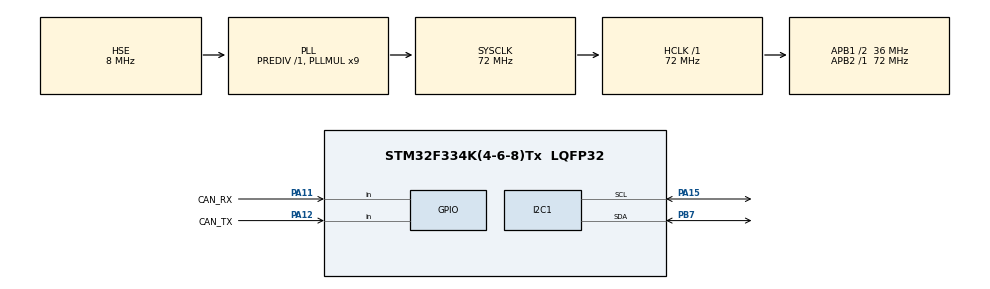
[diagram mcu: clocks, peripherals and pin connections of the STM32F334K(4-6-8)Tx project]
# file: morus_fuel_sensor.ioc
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I2C1.Timing=0x10808DD3
Mcu.Family=STM32F3
Mcu.Name=STM32F334K(4-6-8)Tx
Mcu.Package=LQFP32
NVIC.PriorityGroup=NVIC_PRIORITYGROUP_4
PA11.GPIO_Label=CAN_RX
PA11.Signal=GPIO_Input
PA12.GPIO_Label=CAN_TX
PA12.Signal=GPIO_Input
PA13.Mode=Trace_Asynchronous_SW
PA13.Signal=SYS_JTMS-SWDIO
PA14.Mode=Trace_Asynchronous_SW
PA14.Signal=SYS_JTCK-SWCLK
PA15.Mode=I2C
PA15.Signal=I2C1_SCL
PB3.Mode=Trace_Asynchronous_SW
PB3.Signal=SYS_JTDO-TRACESWO
PB7.Mode=I2C
PB7.Signal=I2C1_SDA
PF0\ /\ OSC_IN.Mode=HSE-External-Oscillator
PF0\ /\ OSC_IN.Signal=RCC_OSC_IN
PF1\ /\ OSC_OUT.Mode=HSE-External-Oscillator
PF1\ /\ OSC_OUT.Signal=RCC_OSC_OUT
ProjectManager.HeapSize=0x200
ProjectManager.StackSize=0x400
ProjectManager.TargetToolchain=MDK-ARM V5
RCC.AHBFreq_Value=72000000
RCC.APB1CLKDivider=RCC_HCLK_DIV2
RCC.APB1Freq_Value=36000000
RCC.APB1TimFreq_Value=72000000
RCC.APB2Freq_Value=72000000
RCC.APB2TimFreq_Value=72000000
RCC.CortexFreq_Value=72000000
RCC.HCLKFreq_Value=72000000
RCC.HSE_VALUE=8000000
RCC.HSI_VALUE=8000000
RCC.I2c1ClockSelection=RCC_I2C1CLKSOURCE_SYSCLK
RCC.PLLMUL=RCC_PLL_MUL9
RCC.PLLSourceVirtual=RCC_PLLSOURCE_HSE
RCC.SYSCLKFreq_VALUE=72000000
RCC.SYSCLKSourceVirtual=RCC_SYSCLKSOURCE_PLLCLK
board=morus_fuel_sensor

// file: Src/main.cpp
/**
  ******************************************************************************
  * File Name          : main.c
  * Description        : Main program body
  ******************************************************************************
  *
  * Copyright (c) 2017 STMicroelectronics International N.V.
  * All rights reserved.
  *
  * Redistribution and use in source and binary forms, with or without
  * modification, are permitted, provided that the following conditions are met:
  *
  * 1. Redistribution of source code must retain the above copyright notice,
  *    this list of conditions and the following disclaimer.
  * 2. Redistributions in binary form must reproduce the above copyright notice,
  *    this list of conditions and the following disclaimer in the documentation
  *    and/or other materials provided with the distribution.
  * 3. Neither the name of STMicroelectronics nor the names of other
  *    contributors to this software may be used to endorse or promote products
  *    derived from this software without specific written permission.
  * 4. This software, including modifications and/or derivative works of this
  *    software, must execute solely and exclusively on microcontroller or
  *    microprocessor devices manufactured by or for STMicroelectronics.
  * 5. Redistribution and use of this software other than as permitted under
  *    this license is void and will automatically terminate your rights under
  *    this license.
  *
  * THIS SOFTWARE IS PROVIDED BY STMICROELECTRONICS AND CONTRIBUTORS "AS IS"
  * AND ANY EXPRESS, IMPLIED OR STATUTORY WARRANTIES, INCLUDING, BUT NOT
  * LIMITED TO, THE IMPLIED WARRANTIES OF MERCHANTABILITY, FITNESS FOR A
  * PARTICULAR PURPOSE AND NON-INFRINGEMENT OF THIRD PARTY INTELLECTUAL PROPERTY
  * RIGHTS ARE DISCLAIMED TO THE FULLEST EXTENT PERMITTED BY LAW. IN NO EVENT
  * SHALL STMICROELECTRONICS OR CONTRIBUTORS BE LIABLE FOR ANY DIRECT, INDIRECT,
  * INCIDENTAL, SPECIAL, EXEMPLARY, OR CONSEQUENTIAL DAMAGES (INCLUDING, BUT NOT
  * LIMITED TO, PROCUREMENT OF SUBSTITUTE GOODS OR SERVICES; LOSS OF USE, DATA,
  * OR PROFITS; OR BUSINESS INTERRUPTION) HOWEVER CAUSED AND ON ANY THEORY OF
  * LIABILITY, WHETHER IN CONTRACT, STRICT LIABILITY, OR TORT (INCLUDING
  * NEGLIGENCE OR OTHERWISE) ARISING IN ANY WAY OUT OF THE USE OF THIS SOFTWARE,
  * EVEN IF ADVISED OF THE POSSIBILITY OF SUCH DAMAGE.
  *
  ******************************************************************************
  */
#include "main.h"
#include "stm32f3xx_hal.h"
#include "i2c.h"
#include "gpio.h"

/* USER CODE BEGIN Includes */
#include <fuel_sensor.h>
#include <fsu_libuavcan.h>
#include <flash.h>
/* USER CODE END Includes */

/* USER CODE BEGIN PV */
/* Private variables ---------------------------------------------------------*/
fsu_libuavcan fsu_can1;
float level;
int fuel_level;
float MEAS1_EMPTY, MEAS2_EMPTY, MEAS3_EMPTY;
float MEAS1, MEAS2, MEAS3;
/* USER CODE END PV */

void SystemClock_Config(void);
void Error_Handler(void);

/* USER CODE BEGIN PFP */
/* Private function prototypes -----------------------------------------------*/

/* USER CODE END PFP */

int main(void)
{

  /* MCU Configuration----------------------------------------------------------*/

  /* Reset of all peripherals, Initializes the Flash interface and the Systick. */
  HAL_Init();

  /* Configure the system clock */
  SystemClock_Config();

  /* Initialize all configured peripherals */
  MX_GPIO_Init();
	MX_I2C1_Init();

  /* USER CODE BEGIN 2 */
	if (readParametersFromFlash(&fsu_parameters) == HAL_ERROR)
		readDefaultParameters(&fsu_parameters);

	fsu_can1.can_init();
	fsu_can1.fsu_libuavcan_Init(fsu_parameters.fsu_id);
	fsu_can1.set_fuel_sensorID(fsu_parameters.fsu_id);
	fsu_can1.start();

	register_init();

  /* USER CODE END 2 */

  while (1)
  {
  /* USER CODE BEGIN 3 */
		liquid_level(&MEAS1_EMPTY, &MEAS2_EMPTY, &MEAS3_EMPTY, &MEAS1, &MEAS2, &MEAS3, &fuel_level, &level);

		fsu_can1.set_fuel_level(fuel_level);//fuel_level (int, 5% units) or level (float)
		fsu_can1.fuel_sensor_status_publish();
		fsu_can1.spin(1000);
  }
  /* USER CODE END 3 */

}

/** System Clock Configuration
*/
void SystemClock_Config(void)
{

  RCC_OscInitTypeDef RCC_OscInitStruct;
  RCC_ClkInitTypeDef RCC_ClkInitStruct;
  RCC_PeriphCLKInitTypeDef PeriphClkInit;

    /**Initializes the CPU, AHB and APB busses clocks
    */
  RCC_OscInitStruct.OscillatorType = RCC_OSCILLATORTYPE_HSE;
  RCC_OscInitStruct.HSEState = RCC_HSE_ON;
  RCC_OscInitStruct.HSEPredivValue = RCC_HSE_PREDIV_DIV1;
  RCC_OscInitStruct.HSIState = RCC_HSI_ON;
  RCC_OscInitStruct.PLL.PLLState = RCC_PLL_ON;
  RCC_OscInitStruct.PLL.PLLSource = RCC_PLLSOURCE_HSE;
  RCC_OscInitStruct.PLL.PLLMUL = RCC_PLL_MUL9;
  if (HAL_RCC_OscConfig(&RCC_OscInitStruct) != HAL_OK)
  {
    Error_Handler();
  }

    /**Initializes the CPU, AHB and APB busses clocks
    */
  RCC_ClkInitStruct.ClockType = RCC_CLOCKTYPE_HCLK|RCC_CLOCKTYPE_SYSCLK
                              |RCC_CLOCKTYPE_PCLK1|RCC_CLOCKTYPE_PCLK2;
  RCC_ClkInitStruct.SYSCLKSource = RCC_SYSCLKSOURCE_PLLCLK;
  RCC_ClkInitStruct.AHBCLKDivider = RCC_SYSCLK_DIV1;
  RCC_ClkInitStruct.APB1CLKDivider = RCC_HCLK_DIV2;
  RCC_ClkInitStruct.APB2CLKDivider = RCC_HCLK_DIV1;

  if (HAL_RCC_ClockConfig(&RCC_ClkInitStruct, FLASH_LATENCY_2) != HAL_OK)
  {
    Error_Handler();
  }

  PeriphClkInit.PeriphClockSelection = RCC_PERIPHCLK_I2C1;
  PeriphClkInit.I2c1ClockSelection = RCC_I2C1CLKSOURCE_SYSCLK;
  if (HAL_RCCEx_PeriphCLKConfig(&PeriphClkInit) != HAL_OK)
  {
    Error_Handler();
  }

    /**Configure the Systick interrupt time
    */
  HAL_SYSTICK_Config(HAL_RCC_GetHCLKFreq()/1000);

    /**Configure the Systick
    */
  HAL_SYSTICK_CLKSourceConfig(SYSTICK_CLKSOURCE_HCLK);

  /* SysTick_IRQn interrupt configuration */
  HAL_NVIC_SetPriority(SysTick_IRQn, 0, 0);
}

void Error_Handler(void)
{
  while(1)
  {
  }
}

/************************ (C) COPYRIGHT STMicroelectronics *****END OF FILE****/
